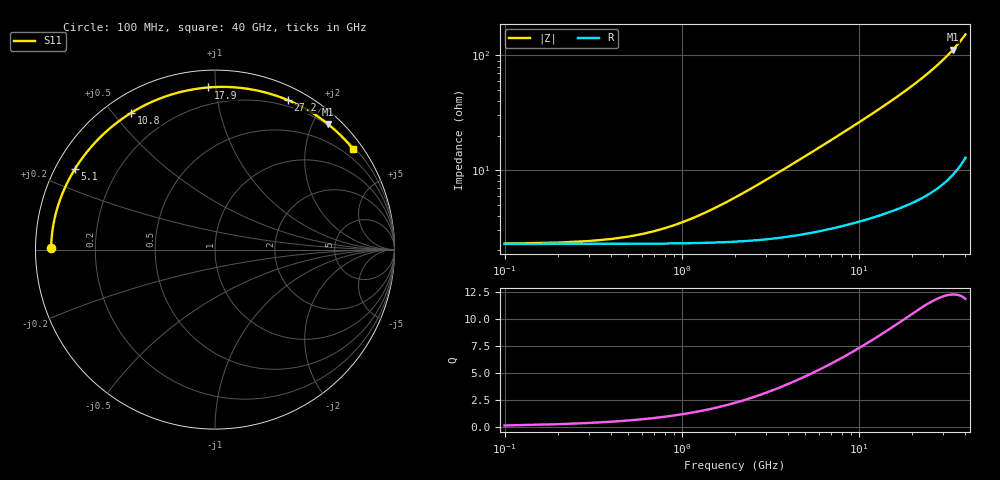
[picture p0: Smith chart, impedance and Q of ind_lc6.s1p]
#  Hz  S  RI  R  50
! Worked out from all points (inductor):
!   400 points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, 100 MHz to 40 GHz, reference 50 ohm
!   read as one part to ground: L = 415 pH near 2.9 GHz
!   highest Q = 12.2 at 34 GHz (marker M1), where L = 522 pH
!   S11 on the Smith chart (normalised r, x): 100 MHz: 0.05, +0.01; 5.1 GHz: 0.06, +0.27; 10.8 GHz: 0.07, +0.56; 17.9 GHz: 0.10, +0.95; 27.2 GHz: 0.14, +1.59; 40 GHz: 0.26, +3.03
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1e8  -0.9127 0.00967
1.2e9  -0.9043 0.1153
2.4e9  -0.8801 0.2263
3.7e9  -0.839 0.3383
5.1e9  -0.7814 0.4473
6.3e9  -0.7237 0.5308
7.6e9  -0.6546 0.6107
8.8e9  -0.5864 0.675
1.01e10  -0.509 0.7346
1.08e10  -0.4665 0.7625
1.18e10  -0.405 0.7975
1.29e10  -0.3371 0.8295
1.4e10  -0.2695 0.8554
1.51e10  -0.2027 0.8754
1.65e10  -0.1196 0.8932
1.79e10  -0.039 0.9034
1.9e10  0.0221 0.9065
2.01e10  0.0811 0.9057
2.25e10  0.2021 0.8926
2.51e10  0.3203 0.8641
2.72e10  0.4062 0.8328
2.86e10  0.4587 0.8087
3.01e10  0.5111 0.7806
3.2e10  0.5718 0.7424
3.4e10  0.6293 0.6996
3.51e10  0.6583 0.6753
3.75e10  0.7155 0.6209
4e10  0.7669 0.5628
